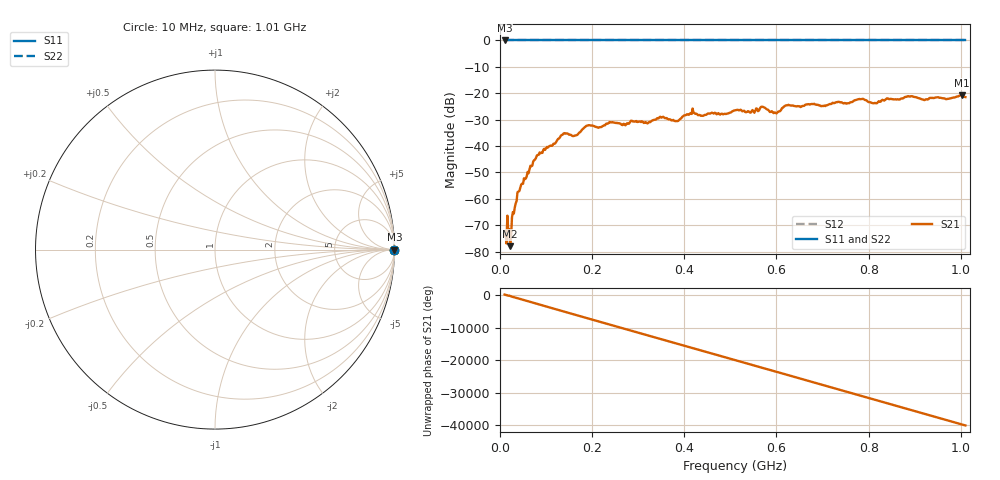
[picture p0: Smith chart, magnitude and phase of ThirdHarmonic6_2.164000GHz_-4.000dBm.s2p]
! 8/17/2025 1:49:27 AM
! C:\ANRITSUVNA\TEMP\TEMP.S2P
! CHANNEL.1
! TR.MEASUREMENT
! RAW.DATA
! RF.CORRECTION.OFF
! AVERAGING.OFF
! IF.BANDWIDTH: 5KHZ
! SWEEPTYPE:  FREQ.SWEEP(Linear)
! Reference Plane Port Info
! PORT:  PORT1  PORT2
! DISTANCE:  0  m  0  m
! TIME:  0  s  0  s
! PHASE.OFFSET:  0  deg.  0  deg.
! LOSS:  0  dB  0  dB
! REF.LOSS:  0  dB  0  dB
! REF.FREQ:  0  Hz  0  Hz
! Power Info
! POWER:  -20  dBm  -20  dBm
! EFF.POWER:  -20  dBm  -20  dBm
! SOURCE.ATTEN:  0  dB  0  dB
! TEST.ATTEN:  0  dB  0  dB
# GHZ S RI R 50.0
! FREQ.GHZ  S11RE  S11IM  S21RE  S21IM  S12RE  S12IM  S22RE  S22IM
!; PortSelection: Port_12
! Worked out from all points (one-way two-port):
!   501 points, 10 MHz to 1.01 GHz, reference 50 ohm
!   highest |S21| = -20.79 dB at 1.002 GHz (marker M1); lowest = -77.9 dB at 22 MHz (marker M2)
!   lowest |S11| = 0.0 dB at 10 MHz (marker M3)
!   |S11| at or under -10 dB: nowhere
!   |S22| runs from 0.0 to 0.0 dB; largest |S21 - S12| = 1.1
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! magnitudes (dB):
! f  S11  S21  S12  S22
! 10 MHz  0.0  -74.0  0.0  0.0
! 16 MHz  0.0  -66.4  0.0  0.0
! 22 MHz  0.0  -77.9  0.0  0.0
! 26 MHz  0.0  -67.0  0.0  0.0
! 30 MHz  0.0  -65.6  0.0  0.0
! 42 MHz  0.0  -57.1  0.0  0.0
! 78 MHz  0.0  -44.5  0.0  0.0
! 136 MHz  0.0  -35.7  0.0  0.0
! 162 MHz  0.0  -36.1  0.0  0.0
! 178 MHz  0.0  -33.8  0.0  0.0
! 344 MHz  0.0  -29.6  0.0  0.0
! 384 MHz  0.0  -30.6  0.0  0.0
! 416 MHz  0.0  -27.8  0.0  0.0
! 440 MHz  0.0  -28.6  0.0  0.0
! 510 MHz  0.0  -26.5  0.0  0.0
! 570 MHz  0.0  -25.1  0.0  0.0
! 598 MHz  0.0  -27.4  0.0  0.0
! 622 MHz  0.0  -24.6  0.0  0.0
! 678 MHz  0.0  -24.1  0.0  0.0
! 844 MHz  0.0  -22.2  0.0  0.0
! 1.002 GHz  0.0  -20.8  0.0  0.0
! 1.01 GHz  0.0  -21.5  0.0  0.0
